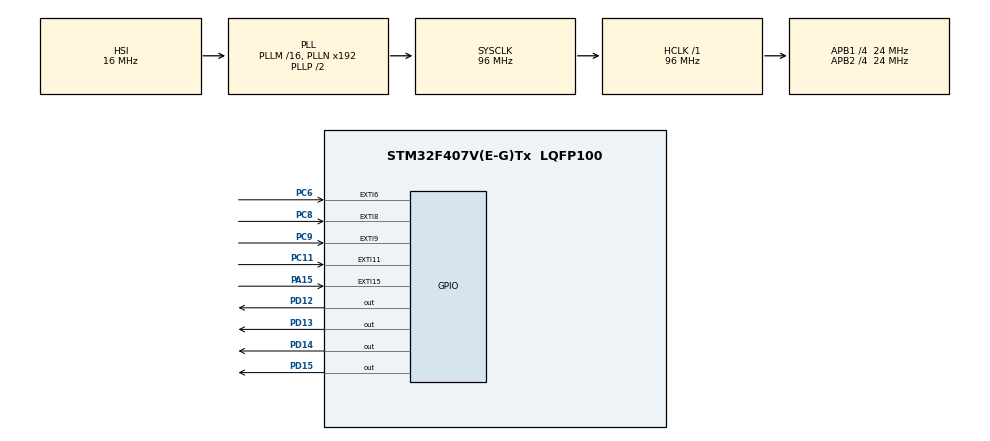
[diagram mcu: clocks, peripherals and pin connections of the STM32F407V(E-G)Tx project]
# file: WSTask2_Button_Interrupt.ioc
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Mcu.Family=STM32F4
Mcu.Name=STM32F407V(E-G)Tx
Mcu.Package=LQFP100
NVIC.EXTI15_10_IRQn=true\:0\:0\:false\:false\:true\:true\:true
NVIC.EXTI9_5_IRQn=true\:0\:0\:false\:false\:true\:true\:true
NVIC.PriorityGroup=NVIC_PRIORITYGROUP_4
PA15.GPIO_ModeDefaultEXTI=GPIO_MODE_IT_FALLING
PA15.Signal=GPXTI15
PC11.Signal=GPXTI11
PC6.GPIO_ModeDefaultEXTI=GPIO_MODE_IT_FALLING
PC6.Signal=GPXTI6
PC8.GPIO_ModeDefaultEXTI=GPIO_MODE_IT_FALLING
PC8.Signal=GPXTI8
PC9.GPIO_ModeDefaultEXTI=GPIO_MODE_IT_FALLING
PC9.Signal=GPXTI9
PD12.Signal=GPIO_Output
PD13.Signal=GPIO_Output
PD14.Signal=GPIO_Output
PD15.Signal=GPIO_Output
ProjectManager.HeapSize=0x200
ProjectManager.StackSize=0x400
ProjectManager.TargetToolchain=STM32CubeIDE
RCC.48MHZClocksFreq_Value=48000000
RCC.AHBFreq_Value=96000000
RCC.APB1CLKDivider=RCC_HCLK_DIV4
RCC.APB1Freq_Value=24000000
RCC.APB1TimFreq_Value=48000000
RCC.APB2CLKDivider=RCC_HCLK_DIV4
RCC.APB2Freq_Value=24000000
RCC.APB2TimFreq_Value=48000000
RCC.CortexFreq_Value=96000000
RCC.HCLKFreq_Value=96000000
RCC.HSE_VALUE=8000000
RCC.HSI_VALUE=16000000
RCC.LSE_VALUE=32768
RCC.SYSCLKFreq_VALUE=96000000
RCC.SYSCLKSource=RCC_SYSCLKSOURCE_PLLCLK
RCC.VCOOutputFreq_Value=192000000
board=custom

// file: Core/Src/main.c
/* USER CODE BEGIN Header */
/**
  ******************************************************************************
  * @file           : main.c
  * @brief          : Main program body
  ******************************************************************************
  * @attention
  *
  * <h2><center>&copy; Copyright (c) 2023 STMicroelectronics.
  * All rights reserved.</center></h2>
  *
  * This software component is licensed by ST under BSD 3-Clause license,
  * the "License"; You may not use this file except in compliance with the
  * License. You may obtain a copy of the License at:
  *                        opensource.org/licenses/BSD-3-Clause
  *
  ******************************************************************************
  */
/* USER CODE END Header */
#include "main.h"

/* USER CODE BEGIN Includes */
#include <stdbool.h>
/* USER CODE END Includes */

/* USER CODE BEGIN PD */
#define LED_GREEN_PIN GPIO_PIN_12
#define LED_ORANGE_PIN GPIO_PIN_13
#define LED_RED_PIN GPIO_PIN_14
#define LED_BLUE_PIN GPIO_PIN_15

#define NEXT_BUTTON_PIN GPIO_PIN_11
#define ON_OFF_BUTTON_PIN GPIO_PIN_15
#define PREV_BUTTON_PIN GPIO_PIN_9
#define SPEED_UP_BUTTON_PIN GPIO_PIN_6
#define SPEED_DOWN_BUTTON_PIN GPIO_PIN_8
/* USER CODE END PD */

void SystemClock_Config(void);
static void MX_GPIO_Init(void);
/* USER CODE BEGIN PFP */
void delay_ms(uint32_t ms);
/* USER CODE END PFP */

/* USER CODE BEGIN 0 */
uint8_t current_scheme = 0;
uint32_t current_speed = 1000;
uint8_t is_blinking = 0;
/* USER CODE END 0 */

int main(void)
{

  /* MCU Configuration--------------------------------------------------------*/

  /* Reset of all peripherals, Initializes the Flash interface and the Systick. */
  HAL_Init();

  /* Configure the system clock */
  SystemClock_Config();

  /* Initialize all configured peripherals */
  MX_GPIO_Init();

  /* Infinite loop */
  /* USER CODE BEGIN WHILE */
  while (1)
  {

	      if (is_blinking)
	      {
	          switch (current_scheme)
	          {
	              case 0:
	            	  HAL_GPIO_WritePin(GPIOD, LED_GREEN_PIN|LED_ORANGE_PIN|LED_RED_PIN|LED_BLUE_PIN, GPIO_PIN_SET);
	                  break;
	              case 1:
	            	  HAL_GPIO_TogglePin(GPIOD, LED_GREEN_PIN);
	            	  delay_ms(current_speed);
	            	  HAL_GPIO_TogglePin(GPIOD, LED_GREEN_PIN);
	            	  HAL_GPIO_TogglePin(GPIOD, LED_ORANGE_PIN);
	            	  delay_ms(current_speed);
	            	  HAL_GPIO_TogglePin(GPIOD, LED_ORANGE_PIN);
	            	  HAL_GPIO_TogglePin(GPIOD, LED_RED_PIN);
	            	  delay_ms(current_speed);
	            	  HAL_GPIO_TogglePin(GPIOD, LED_RED_PIN);
	            	  HAL_GPIO_TogglePin(GPIOD, LED_BLUE_PIN);
	            	  delay_ms(current_speed);
	            	  HAL_GPIO_TogglePin(GPIOD, LED_BLUE_PIN);
	                  break;
	              case 2:
	            	  HAL_GPIO_TogglePin(GPIOD, LED_GREEN_PIN | LED_RED_PIN);
	                  delay_ms(current_speed);
	                  HAL_GPIO_TogglePin(GPIOD, LED_GREEN_PIN | LED_RED_PIN);
	                  HAL_GPIO_TogglePin(GPIOD, LED_ORANGE_PIN | LED_BLUE_PIN);
	                  delay_ms(current_speed);
	                  HAL_GPIO_TogglePin(GPIOD, LED_ORANGE_PIN | LED_BLUE_PIN);
	                  break;
	              default:
	                  break;
	          }
	      }

	      if(!is_blinking){
	    	  HAL_GPIO_WritePin(GPIOD, LED_GREEN_PIN|LED_ORANGE_PIN|LED_RED_PIN|LED_BLUE_PIN, GPIO_PIN_RESET);

	      }

    /* USER CODE END WHILE */

  }
}

void SystemClock_Config(void)
{
  RCC_OscInitTypeDef RCC_OscInitStruct = {0};
  RCC_ClkInitTypeDef RCC_ClkInitStruct = {0};

  /** Configure the main internal regulator output voltage
  */
  __HAL_RCC_PWR_CLK_ENABLE();
  __HAL_PWR_VOLTAGESCALING_CONFIG(PWR_REGULATOR_VOLTAGE_SCALE1);
  /** Initializes the RCC Oscillators according to the specified parameters
  * in the RCC_OscInitTypeDef structure.
  */
  RCC_OscInitStruct.OscillatorType = RCC_OSCILLATORTYPE_HSI;
  RCC_OscInitStruct.HSIState = RCC_HSI_ON;
  RCC_OscInitStruct.HSICalibrationValue = RCC_HSICALIBRATION_DEFAULT;
  RCC_OscInitStruct.PLL.PLLState = RCC_PLL_ON;
  RCC_OscInitStruct.PLL.PLLSource = RCC_PLLSOURCE_HSI;
  RCC_OscInitStruct.PLL.PLLM = 16;
  RCC_OscInitStruct.PLL.PLLN = 192;
  RCC_OscInitStruct.PLL.PLLP = RCC_PLLP_DIV2;
  RCC_OscInitStruct.PLL.PLLQ = 4;
  if (HAL_RCC_OscConfig(&RCC_OscInitStruct) != HAL_OK)
  {
    Error_Handler();
  }
  /** Initializes the CPU, AHB and APB buses clocks
  */
  RCC_ClkInitStruct.ClockType = RCC_CLOCKTYPE_HCLK|RCC_CLOCKTYPE_SYSCLK
                              |RCC_CLOCKTYPE_PCLK1|RCC_CLOCKTYPE_PCLK2;
  RCC_ClkInitStruct.SYSCLKSource = RCC_SYSCLKSOURCE_PLLCLK;
  RCC_ClkInitStruct.AHBCLKDivider = RCC_SYSCLK_DIV1;
  RCC_ClkInitStruct.APB1CLKDivider = RCC_HCLK_DIV4;
  RCC_ClkInitStruct.APB2CLKDivider = RCC_HCLK_DIV4;

  if (HAL_RCC_ClockConfig(&RCC_ClkInitStruct, FLASH_LATENCY_3) != HAL_OK)
  {
    Error_Handler();
  }
}

static void MX_GPIO_Init(void)
{
  GPIO_InitTypeDef GPIO_InitStruct = {0};

  /* GPIO Ports Clock Enable */
  __HAL_RCC_GPIOD_CLK_ENABLE();
  __HAL_RCC_GPIOC_CLK_ENABLE();
  __HAL_RCC_GPIOA_CLK_ENABLE();

  /*Configure GPIO pin Output Level */
  HAL_GPIO_WritePin(GPIOD, GPIO_PIN_12|GPIO_PIN_13|GPIO_PIN_14|GPIO_PIN_15, GPIO_PIN_RESET);

  /*Configure GPIO pins : PD12 PD13 PD14 PD15 */
  GPIO_InitStruct.Pin = GPIO_PIN_12|GPIO_PIN_13|GPIO_PIN_14|GPIO_PIN_15;
  GPIO_InitStruct.Mode = GPIO_MODE_OUTPUT_PP;
  GPIO_InitStruct.Pull = GPIO_NOPULL;
  GPIO_InitStruct.Speed = GPIO_SPEED_FREQ_LOW;
  HAL_GPIO_Init(GPIOD, &GPIO_InitStruct);

  /*Configure GPIO pins : PC6 PC8 PC9 */
  GPIO_InitStruct.Pin = GPIO_PIN_6|GPIO_PIN_8|GPIO_PIN_9;
  GPIO_InitStruct.Mode = GPIO_MODE_IT_FALLING;
  GPIO_InitStruct.Pull = GPIO_NOPULL;
  HAL_GPIO_Init(GPIOC, &GPIO_InitStruct);

  /*Configure GPIO pin : PA15 */
  GPIO_InitStruct.Pin = GPIO_PIN_15;
  GPIO_InitStruct.Mode = GPIO_MODE_IT_FALLING;
  GPIO_InitStruct.Pull = GPIO_NOPULL;
  HAL_GPIO_Init(GPIOA, &GPIO_InitStruct);

  /*Configure GPIO pin : PC11 */
  GPIO_InitStruct.Pin = GPIO_PIN_11;
  GPIO_InitStruct.Mode = GPIO_MODE_IT_RISING;
  GPIO_InitStruct.Pull = GPIO_NOPULL;
  HAL_GPIO_Init(GPIOC, &GPIO_InitStruct);

  /* EXTI interrupt init*/
  HAL_NVIC_SetPriority(EXTI9_5_IRQn, 0, 0);
  HAL_NVIC_EnableIRQ(EXTI9_5_IRQn);

  HAL_NVIC_SetPriority(EXTI15_10_IRQn, 0, 0);
  HAL_NVIC_EnableIRQ(EXTI15_10_IRQn);

}

/* USER CODE BEGIN 4 */

void delay_ms(uint32_t ms)
{
    uint32_t start = HAL_GetTick();
    while (HAL_GetTick() - start < ms)
    {

    }
}

void HAL_GPIO_EXTI_Callback(uint16_t GPIO_Pin){

  if(GPIO_Pin == NEXT_BUTTON_PIN) { // обробка натискання кнопки "Наступний режим"
	  current_scheme = (current_scheme + 1) % 3; // зміна режиму блимання
  }
  else if(GPIO_Pin == PREV_BUTTON_PIN) { // обробка натискання кнопки "Попередній режим"
	  current_scheme = (current_scheme + 2) % 3; // зміна режиму блимання
  }
  else if(GPIO_Pin == SPEED_UP_BUTTON_PIN) { // обробка натискання кнопки "Прискорити"
	if(current_speed > 100) {
		current_speed -= 100; // зменшення швидкості блимання
	}
  }
  else if(GPIO_Pin == SPEED_DOWN_BUTTON_PIN) { // обробка натискання кнопки "Сповільнити"
	if(current_speed < 900) {
		current_speed += 100; // збільшення швидкості блимання
	}
  }
  else if(GPIO_Pin == ON_OFF_BUTTON_PIN) { // обробка натискання кнопки "Ввімкнути/вимкнути блимання"

	if(is_blinking) {
	  is_blinking = 0; // вимкнути блимання
	}
	else {
	  is_blinking = 1; // ввімкнути блимання
	}
  }

}
/* USER CODE END 4 */

void Error_Handler(void)
{
  __disable_irq();
  while (1)
  {
  }
}

/************************ (C) COPYRIGHT STMicroelectronics *****END OF FILE****/
